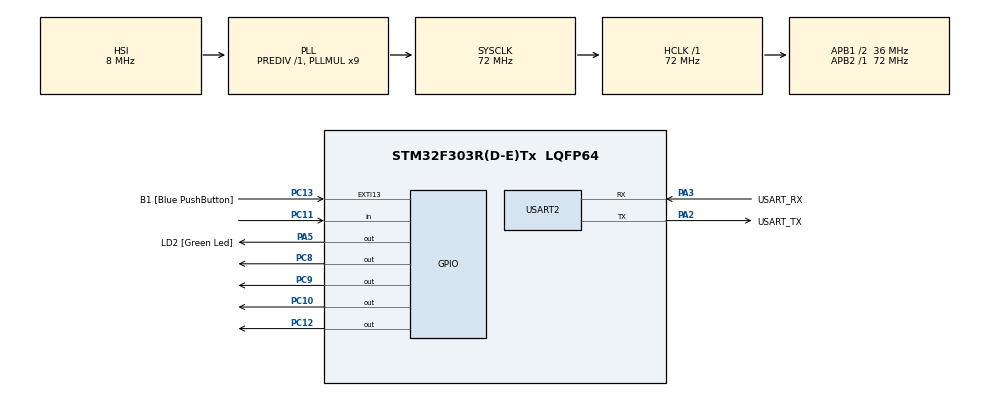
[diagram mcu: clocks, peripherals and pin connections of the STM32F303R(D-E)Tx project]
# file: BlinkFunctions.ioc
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Mcu.Family=STM32F3
Mcu.Name=STM32F303R(D-E)Tx
Mcu.Package=LQFP64
NVIC.PriorityGroup=NVIC_PRIORITYGROUP_0
NVIC.USART2_IRQn=true\:0\:0\:false\:false\:true\:true\:true\:true
PA13.GPIO_Label=TMS
PA13.Mode=Serial_Wire
PA13.Signal=SYS_JTMS-SWDIO
PA14.GPIO_Label=TCK
PA14.Mode=Serial_Wire
PA14.Signal=SYS_JTCK-SWCLK
PA2.GPIO_Label=USART_TX
PA2.GPIO_Mode=GPIO_MODE_AF_PP
PA2.GPIO_PuPd=GPIO_NOPULL
PA2.GPIO_Speed=GPIO_SPEED_FREQ_LOW
PA2.Mode=Asynchronous
PA2.Signal=USART2_TX
PA3.GPIO_Label=USART_RX
PA3.GPIO_Mode=GPIO_MODE_AF_PP
PA3.GPIO_PuPd=GPIO_NOPULL
PA3.GPIO_Speed=GPIO_SPEED_FREQ_LOW
PA3.Mode=Asynchronous
PA3.Signal=USART2_RX
PA5.GPIO_Label=LD2 [Green Led]
PA5.GPIO_Mode=GPIO_MODE_OUTPUT_PP
PA5.GPIO_PuPd=GPIO_NOPULL
PA5.GPIO_Speed=GPIO_SPEED_FREQ_LOW
PA5.Signal=GPIO_Output
PB3.GPIO_Label=SWO
PB3.Signal=SYS_JTDO-TRACESWO
PC10.Signal=GPIO_Output
PC11.GPIO_PuPd=GPIO_PULLUP
PC11.Signal=GPIO_Input
PC12.Signal=GPIO_Output
PC13.GPIO_Label=B1 [Blue PushButton]
PC13.GPIO_ModeDefaultEXTI=GPIO_MODE_IT_FALLING
PC13.Signal=GPXTI13
PC14-OSC32_IN.Mode=LSE-External-Oscillator
PC14-OSC32_IN.Signal=RCC_OSC32_IN
PC15-OSC32_OUT.Mode=LSE-External-Oscillator
PC15-OSC32_OUT.Signal=RCC_OSC32_OUT
PC8.Signal=GPIO_Output
PC9.Signal=GPIO_Output
PF0-OSC_IN.Mode=HSE-External-Clock-Source
PF0-OSC_IN.Signal=RCC_OSC_IN
PF1-OSC_OUT.Signal=RCC_OSC_OUT
ProjectManager.HeapSize=0x200
ProjectManager.StackSize=0x400
ProjectManager.TargetToolchain=STM32CubeIDE
RCC.AHBFreq_Value=72000000
RCC.APB1CLKDivider=RCC_HCLK_DIV2
RCC.APB1Freq_Value=36000000
RCC.APB1TimFreq_Value=72000000
RCC.APB2Freq_Value=72000000
RCC.APB2TimFreq_Value=72000000
RCC.CortexFreq_Value=72000000
RCC.HCLKFreq_Value=72000000
RCC.HSE_VALUE=8000000
RCC.HSI_VALUE=8000000
RCC.PLLM=8
RCC.PLLMUL=RCC_PLL_MUL9
RCC.PLLN=336
RCC.PLLP=RCC_PLLP_DIV4
RCC.PLLQ=7
RCC.RCC_PLLsource_Clock_Source_FROM_HSE=RCC_HSE_PREDIV_DIV2
RCC.SYSCLKFreq_VALUE=72000000
RCC.SYSCLKSourceVirtual=RCC_SYSCLKSOURCE_PLLCLK
RCC.USBFreq_Value=72000000
USART2.VirtualMode-Asynchronous=VM_ASYNC
board=NUCLEO-F303RE

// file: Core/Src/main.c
/* USER CODE BEGIN Header */
/**
  ******************************************************************************
  * @file           : main.c
  * @brief          : Main program body
  ******************************************************************************
  * @attention
  *
  * Copyright (c) 2026 STMicroelectronics.
  * All rights reserved.
  *
  * This software is licensed under terms that can be found in the LICENSE file
  * in the root directory of this software component.
  * If no LICENSE file comes with this software, it is provided AS-IS.
  *
  ******************************************************************************
  */
/* USER CODE END Header */
#include "main.h"

/* USER CODE BEGIN Includes */
#include "LED.h"
#include <string.h>
#include <stdio.h>
#include <stdlib.h>
#include "cli.h"
#include "button.h"

/* USER CODE END Includes */

/* USER CODE BEGIN PD */
#define DEBOUNCE_TIME 30
#define LONG_PRESS_TIME 1000

/* USER CODE END PD */

UART_HandleTypeDef huart2;

/* USER CODE BEGIN PV */

uint8_t ledMode = 0;
uint8_t previousMode = 255;
uint8_t rx;
uint32_t blinkTarget = 0;
uint32_t blinkCurrent = 0;
uint32_t blinkDelay = 0;
char buffer[32];
uint8_t idx = 0;

/* USER CODE END PV */

void SystemClock_Config(void);
static void MX_GPIO_Init(void);
static void MX_USART2_UART_Init(void);

int main(void)
{

  /* USER CODE BEGIN 1 */
	LED_Handle led;

  /* USER CODE END 1 */

  /* MCU Configuration--------------------------------------------------------*/

  /* Reset of all peripherals, Initializes the Flash interface and the Systick. */
  HAL_Init();

  /* Configure the system clock */
  SystemClock_Config();

  /* Initialize all configured peripherals */
  MX_GPIO_Init();
  MX_USART2_UART_Init();
  /* USER CODE BEGIN 2 */

  Button_Init(GPIOC, GPIO_PIN_11);

  HAL_UART_Receive_IT(&huart2, &rx, 1);

  LED_Init(&led, GPIOC, GPIO_PIN_10);

  /* USER CODE END 2 */

  /* Infinite loop */
  /* USER CODE BEGIN WHILE */
  while (1)
  {
	  LED_Update(&led);

	  Button_Update();

	  ButtonEvent_t event = Button_GetEvent();

			  if(event == BUTTON_EVENT_SHORT_PRESS)
			  {
				  ledMode++;

				  if(ledMode > 4)
				  {
					  ledMode = 0;
				  }

			  }

			  else if(event == BUTTON_EVENT_LONG_PRESS)
			  {
				  ledMode = 0;
			  }

  if(ledMode != previousMode)
  {
	  previousMode = ledMode;

		  if(ledMode == 0)
		  {
			  LED_BlinkStart(&led, 100);
			  uart_send("Mode 0\r\n");
		  }

		  else if(ledMode == 1)
		  {
			  LED_BlinkStop(&led);
			  LED_On(&led);
			  uart_send("Mode 1\r\n");
		  }

		  else if (ledMode == 2)
		  {
			  LED_BlinkStop(&led);
			  LED_Off(&led);
			  uart_send("Mode 2\r\n");
		  }

		  else if (ledMode == 3)
			  {
			    LED_BlinkStart(&led, 1000);
			    uart_send("Mode 3\r\n");
			  }
		  else if(ledMode == 4)
		  {
		  uart_send("ENTER MODE 4\r\n");

		  char msg[64];

		  sprintf(msg, "target=%lu delay=%lu\r\n", blinkTarget, blinkDelay);

		  uart_send(msg);

		  LED_BlinkStop(&led);

		  for(uint32_t i = 0; i < blinkTarget; i++)
		  {
		  uart_send("ON\r\n");

		  LED_On(&led);

		  HAL_Delay(blinkDelay);

		  uart_send("OFF\r\n");

		  LED_Off(&led);

		  HAL_Delay(blinkDelay);
		  }
		  ledMode = 2;
		  }

  }

    /* USER CODE END WHILE */

  }
}

void SystemClock_Config(void)
{
  RCC_OscInitTypeDef RCC_OscInitStruct = {0};
  RCC_ClkInitTypeDef RCC_ClkInitStruct = {0};
  RCC_PeriphCLKInitTypeDef PeriphClkInit = {0};

  /** Initializes the RCC Oscillators according to the specified parameters
  * in the RCC_OscInitTypeDef structure.
  */
  RCC_OscInitStruct.OscillatorType = RCC_OSCILLATORTYPE_HSI;
  RCC_OscInitStruct.HSIState = RCC_HSI_ON;
  RCC_OscInitStruct.HSICalibrationValue = RCC_HSICALIBRATION_DEFAULT;
  RCC_OscInitStruct.PLL.PLLState = RCC_PLL_ON;
  RCC_OscInitStruct.PLL.PLLSource = RCC_PLLSOURCE_HSI;
  RCC_OscInitStruct.PLL.PLLMUL = RCC_PLL_MUL9;
  RCC_OscInitStruct.PLL.PREDIV = RCC_PREDIV_DIV1;
  if (HAL_RCC_OscConfig(&RCC_OscInitStruct) != HAL_OK)
  {
    Error_Handler();
  }

  /** Initializes the CPU, AHB and APB buses clocks
  */
  RCC_ClkInitStruct.ClockType = RCC_CLOCKTYPE_HCLK|RCC_CLOCKTYPE_SYSCLK
                              |RCC_CLOCKTYPE_PCLK1|RCC_CLOCKTYPE_PCLK2;
  RCC_ClkInitStruct.SYSCLKSource = RCC_SYSCLKSOURCE_PLLCLK;
  RCC_ClkInitStruct.AHBCLKDivider = RCC_SYSCLK_DIV1;
  RCC_ClkInitStruct.APB1CLKDivider = RCC_HCLK_DIV2;
  RCC_ClkInitStruct.APB2CLKDivider = RCC_HCLK_DIV1;

  if (HAL_RCC_ClockConfig(&RCC_ClkInitStruct, FLASH_LATENCY_2) != HAL_OK)
  {
    Error_Handler();
  }
  PeriphClkInit.PeriphClockSelection = RCC_PERIPHCLK_USART2;
  PeriphClkInit.Usart2ClockSelection = RCC_USART2CLKSOURCE_PCLK1;
  if (HAL_RCCEx_PeriphCLKConfig(&PeriphClkInit) != HAL_OK)
  {
    Error_Handler();
  }
}

static void MX_USART2_UART_Init(void)
{

  huart2.Instance = USART2;
  huart2.Init.BaudRate = 38400;
  huart2.Init.WordLength = UART_WORDLENGTH_8B;
  huart2.Init.StopBits = UART_STOPBITS_1;
  huart2.Init.Parity = UART_PARITY_NONE;
  huart2.Init.Mode = UART_MODE_TX_RX;
  huart2.Init.HwFlowCtl = UART_HWCONTROL_NONE;
  huart2.Init.OverSampling = UART_OVERSAMPLING_16;
  huart2.Init.OneBitSampling = UART_ONE_BIT_SAMPLE_DISABLE;
  huart2.AdvancedInit.AdvFeatureInit = UART_ADVFEATURE_NO_INIT;
  if (HAL_UART_Init(&huart2) != HAL_OK)
  {
    Error_Handler();
  }

}

static void MX_GPIO_Init(void)
{
  GPIO_InitTypeDef GPIO_InitStruct = {0};

  /* GPIO Ports Clock Enable */
  __HAL_RCC_GPIOC_CLK_ENABLE();
  __HAL_RCC_GPIOF_CLK_ENABLE();
  __HAL_RCC_GPIOA_CLK_ENABLE();
  __HAL_RCC_GPIOB_CLK_ENABLE();

  /*Configure GPIO pin Output Level */
  HAL_GPIO_WritePin(LD2_GPIO_Port, LD2_Pin, GPIO_PIN_RESET);

  /*Configure GPIO pin Output Level */
  HAL_GPIO_WritePin(GPIOC, GPIO_PIN_8|GPIO_PIN_9|GPIO_PIN_10|GPIO_PIN_12, GPIO_PIN_RESET);

  /*Configure GPIO pin : B1_Pin */
  GPIO_InitStruct.Pin = B1_Pin;
  GPIO_InitStruct.Mode = GPIO_MODE_IT_FALLING;
  GPIO_InitStruct.Pull = GPIO_NOPULL;
  HAL_GPIO_Init(B1_GPIO_Port, &GPIO_InitStruct);

  /*Configure GPIO pin : LD2_Pin */
  GPIO_InitStruct.Pin = LD2_Pin;
  GPIO_InitStruct.Mode = GPIO_MODE_OUTPUT_PP;
  GPIO_InitStruct.Pull = GPIO_NOPULL;
  GPIO_InitStruct.Speed = GPIO_SPEED_FREQ_LOW;
  HAL_GPIO_Init(LD2_GPIO_Port, &GPIO_InitStruct);

  /*Configure GPIO pins : PC8 PC9 PC10 PC12 */
  GPIO_InitStruct.Pin = GPIO_PIN_8|GPIO_PIN_9|GPIO_PIN_10|GPIO_PIN_12;
  GPIO_InitStruct.Mode = GPIO_MODE_OUTPUT_PP;
  GPIO_InitStruct.Pull = GPIO_NOPULL;
  GPIO_InitStruct.Speed = GPIO_SPEED_FREQ_LOW;
  HAL_GPIO_Init(GPIOC, &GPIO_InitStruct);

  /*Configure GPIO pin : PC11 */
  GPIO_InitStruct.Pin = GPIO_PIN_11;
  GPIO_InitStruct.Mode = GPIO_MODE_INPUT;
  GPIO_InitStruct.Pull = GPIO_PULLUP;
  HAL_GPIO_Init(GPIOC, &GPIO_InitStruct);

}

/* USER CODE BEGIN 4 */

void HAL_UART_RxCpltCallback(UART_HandleTypeDef *huart)
	{
	if(huart->Instance == USART2)
	{
		HAL_UART_Transmit(&huart2, &rx, 1, 10);

		if(rx == '\r' || rx == '\n')
		{
			buffer[idx] = '\0';

			CommandProcessor(buffer);

			idx = 0;
			buffer[0] = '\0';
		}
		else
		{
			if(idx < sizeof(buffer) - 1)
			{
				buffer[idx++] = rx;
			}
		}

		HAL_UART_Receive_IT(&huart2, &rx, 1);
	}
}

/* USER CODE END 4 */

void Error_Handler(void)
{
  __disable_irq();
  while (1)
  {
  }
}
